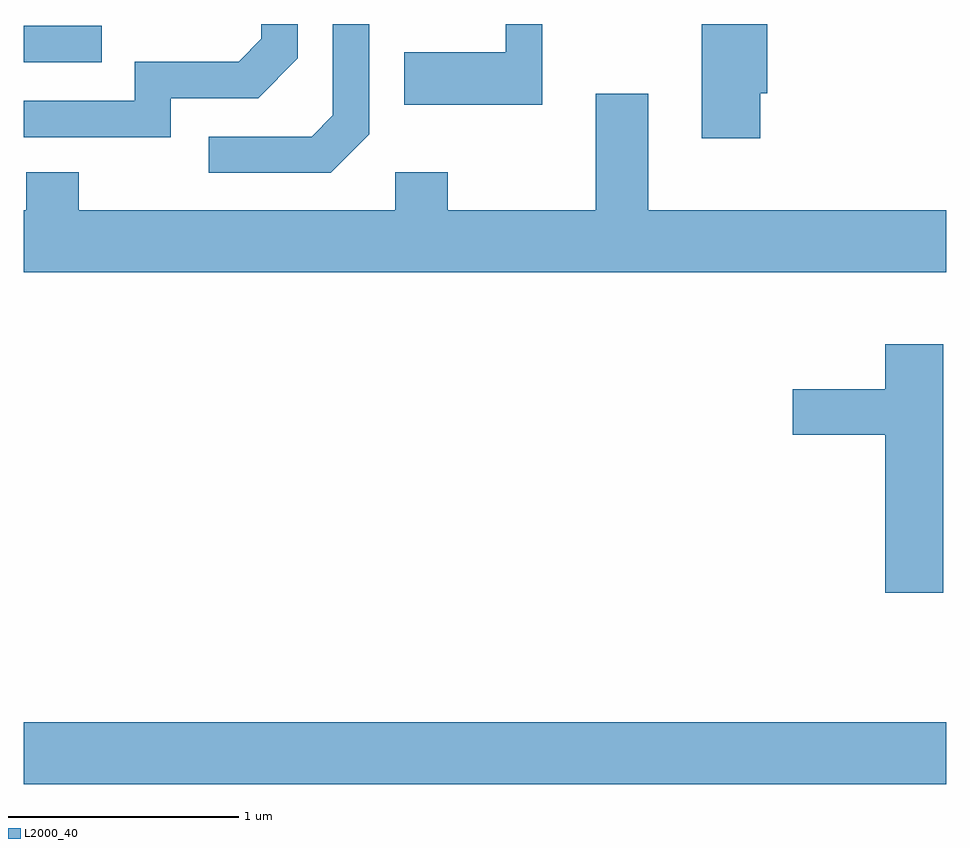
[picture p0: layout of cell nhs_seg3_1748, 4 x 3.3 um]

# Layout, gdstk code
import gdstk
lib = gdstk.Library(unit=1e-6, precision=1e-09)
def R(c, l, rs):  # rectangles x0, y0, x1, y1
    for r in rs: c.add(gdstk.rectangle(r[:2], r[2:], *l))
def P(c, l, *ps):  # polygons
    for p in ps: c.add(gdstk.Polygon(p, *l))
L2000_40 = (2000, 40)

nhs_seg3_1748 = lib.new_cell('nhs_seg3_1748')
R(nhs_seg3_1748, L2000_40, [(235.611,1212.596,239.611,1212.864), (235.611,1215.726,235.948,1215.884)])
P(nhs_seg3_1748, L2000_40, [(236.249,1215.571),(236.627,1215.571),(236.799,1215.744),(236.799,1215.892),(236.641,1215.892),(236.641,1215.827),(236.544,1215.729),(236.091,1215.729),(236.091,1215.559),(235.611,1215.559),(235.611,1215.401),(236.249,1215.401)],
  [(238.804,1215.591),(238.834,1215.591),(238.834,1215.892),(238.551,1215.892),(238.551,1215.396),(238.804,1215.396)],
  [(237.859,1215.892),(237.701,1215.892),(237.701,1215.769),(237.261,1215.769),(237.261,1215.541),(237.859,1215.541)],
  [(237.109,1215.414),(237.109,1215.892),(236.951,1215.892),(236.951,1215.497),(236.859,1215.404),(236.413,1215.404),(236.413,1215.246),(236.942,1215.246)],
  [(239.611,1215.084),(238.319,1215.084),(238.319,1215.589),(238.091,1215.589),(238.091,1215.084),(237.449,1215.084),(237.449,1215.249),(237.221,1215.249),(237.221,1215.084),(235.849,1215.084),(235.849,1215.249),(235.621,1215.249),(235.621,1215.084),(235.611,1215.084),(235.611,1214.816),(239.611,1214.816)],
  [(239.599,1214.504),(239.346,1214.504),(239.346,1214.309),(238.946,1214.309),(238.946,1214.111),(239.346,1214.111),(239.346,1213.426),(239.599,1213.426)])

lib.write_gds('nhs_seg3_1748.gds')
